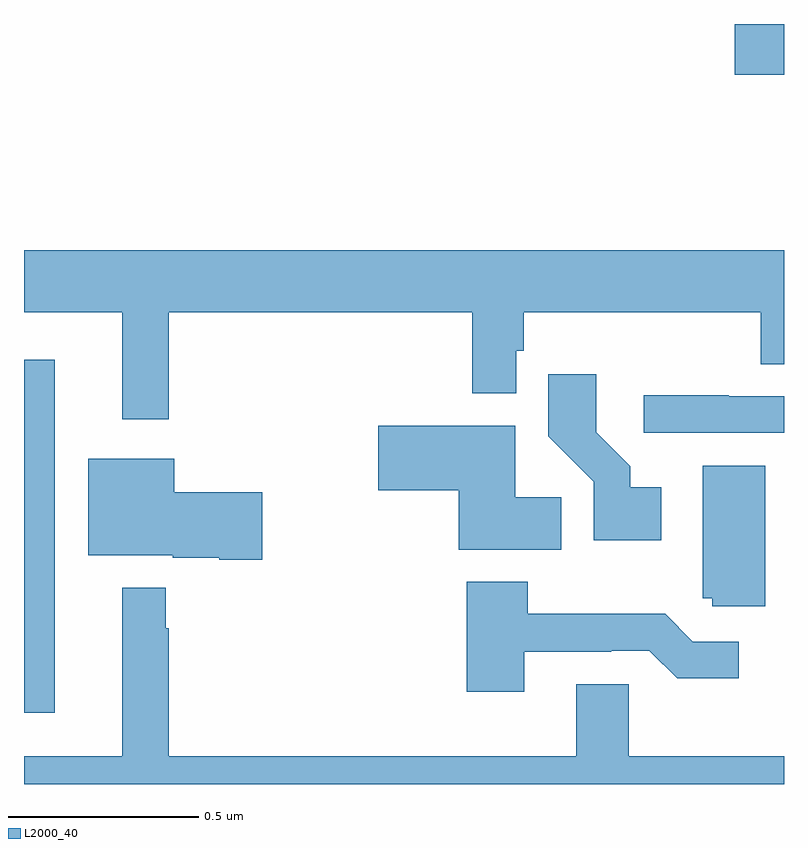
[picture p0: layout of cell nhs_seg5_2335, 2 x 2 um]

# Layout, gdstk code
import gdstk
lib = gdstk.Library(unit=1e-6, precision=1e-09)
def R(c, l, rs):  # rectangles x0, y0, x1, y1
    for r in rs: c.add(gdstk.rectangle(r[:2], r[2:], *l))
def P(c, l, *ps):  # polygons
    for p in ps: c.add(gdstk.Polygon(p, *l))
L2000_40 = (2000, 40)

nhs_seg5_2335 = lib.new_cell('nhs_seg5_2335')
R(nhs_seg5_2335, L2000_40, [(142,908.987,142.081,909.916), (143.871,910.666,144,910.799)])
P(nhs_seg5_2335, L2000_40, [(142.381,910.04),(143.179,910.04),(143.179,909.827),(143.295,909.827),(143.295,909.939),(143.315,909.939),(143.315,910.04),(143.939,910.04),(143.939,909.904),(144,909.904),(144,910.204),(142,910.204),(142,910.04),(142.259,910.04),(142.259,909.759),(142.381,909.759)],
  [(143.677,909.58),(143.596,909.58),(143.596,909.635),(143.506,909.725),(143.506,909.877),(143.38,909.877),(143.38,909.714),(143.499,909.595),(143.499,909.44),(143.677,909.44)],
  [(144,909.819),(143.855,909.819),(143.855,909.822),(143.631,909.822),(143.631,909.723),(144,909.723)],
  [(143.414,909.554),(143.293,909.554),(143.293,909.742),(142.932,909.742),(142.932,909.572),(143.144,909.572),(143.144,909.416),(143.414,909.416)],
  [(142.627,909.567),(142.396,909.567),(142.396,909.655),(142.169,909.655),(142.169,909.401),(142.392,909.401),(142.392,909.395),(142.514,909.395),(142.514,909.389),(142.627,909.389)],
  [(143.95,909.637),(143.786,909.637),(143.786,909.288),(143.811,909.288),(143.811,909.267),(143.95,909.267)],
  [(143.317,909.147),(143.546,909.147),(143.546,909.15),(143.646,909.15),(143.719,909.077),(143.881,909.077),(143.881,909.174),(143.76,909.174),(143.687,909.247),(143.325,909.247),(143.325,909.331),(143.165,909.331),(143.165,909.042),(143.317,909.042)],
  [(144,908.872),(143.592,908.872),(143.592,909.062),(143.453,909.062),(143.453,908.872),(142.381,908.872),(142.381,909.209),(142.373,909.209),(142.373,909.316),(142.259,909.316),(142.259,908.872),(142,908.872),(142,908.799),(144,908.799)])

lib.write_gds('nhs_seg5_2335.gds')
